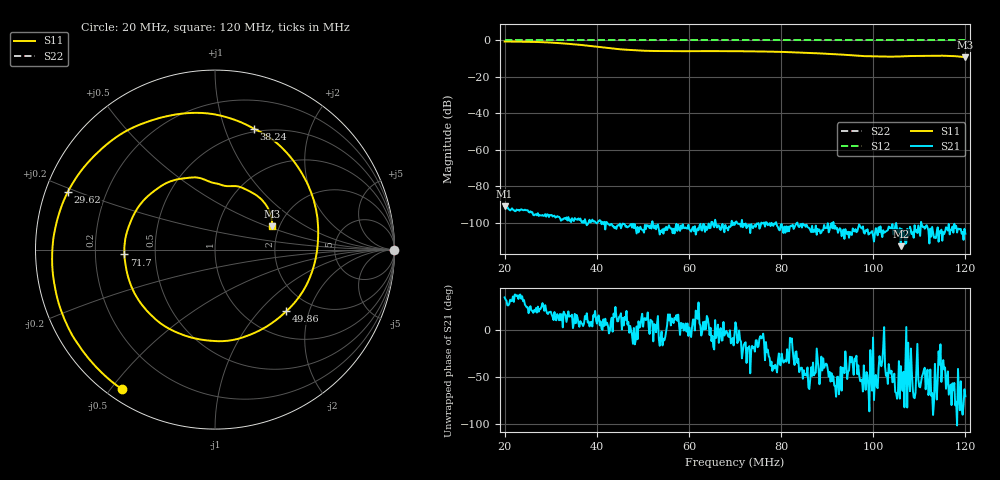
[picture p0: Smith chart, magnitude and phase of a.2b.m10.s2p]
! Anritsu VNA Master:  Model: MS2036C/10/77
! SN:  1601066
! /bd0/18may09/252.ns.m10.s2p
! Existing Calibration Information:
! TYPE:  Current Settings,  Active Cal Settings
! TIME:  05/09/2018 09:13:27 AM,  05/09/2018 09:02:47 AM
! INTERNAL TEMP:  41.8 C,  40.3 C
! # POINTS:  500,  500
! START FREQ:  20.000 MHz,  20.000 MHz
! STOP FREQ:  120.000 MHz,  120.000 MHz
! SOURCE POWER:  High,  High
! IFBW:  50 Hz,  50 Hz
! AVG FACTOR:  1 ,  1
! REF PLANE 1:  0 mm,  0 mm
! REF PLANE 2:  0 mm,  0 mm
! CAL TYPE:  Full S11,  Full S11
! CAL METHOD:  SOLT,  SOLT
! CAL LINE TYPE:  Coax,  Coax
! DUT PORT 1:  K-Conn(F),  K-Conn(F)
! DUT PORT 2:  K-Conn(F),  K-Conn(F)
! CAL STATUS:  OK: Accuracy High,  --
# GHZ S DB R 50.0
! FREQ.GHZ  S11DB  S11A  S21DB  S21A  S12DB  S12A  S22DB  S22A
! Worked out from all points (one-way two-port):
!   500 points, 20 MHz to 120 MHz, reference 50 ohm
!   highest |S21| = -91.01 dB at 20 MHz (marker M1); lowest = -112.9 dB at 106 MHz (marker M2)
!   lowest |S11| = -9.3 dB at 120 MHz (marker M3), VSWR 2.05, Z = 91.6 + j27.1 ohm
!   |S11| at or under -10 dB: nowhere
!   |S22| runs from 0.0 to 0.0 dB; largest |S21 - S12| = 1
!   S11 on the Smith chart (normalised r, x): 20 MHz: 0.04, -0.54; 29.62 MHz: 0.07, +0.19; 38.24 MHz: 0.47, +1.26; 49.86 MHz: 1.50, -1.43; 71.7 MHz: 0.33, -0.02; 120 MHz: 1.83, +0.54
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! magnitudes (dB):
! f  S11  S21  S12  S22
! 20 MHz  -0.6  -91.0  0.0  0.0
! 25.01 MHz  -0.7  -93.2  0.0  0.0
! 29.62 MHz  -1.1  -96.9  0.0  0.0
! 32.83 MHz  -1.6  -97.7  0.0  0.0
! 36.83 MHz  -2.5  -100.1  0.0  0.0
! 38.24 MHz  -3.0  -99.7  0.0  0.0
! 44.65 MHz  -4.8  -101.4  0.0  0.0
! 49.86 MHz  -5.6  -103.9  0.0  0.0
! 53.47 MHz  -5.8  -103.5  0.0  0.0
! 57.68 MHz  -5.9  -101.1  0.0  0.0
! 70.1 MHz  -5.9  -99.7  0.0  0.0
! 71.7 MHz  -5.9  -102.5  0.0  0.0
! 79.72 MHz  -6.3  -104.2  0.0  0.0
! 86.73 MHz  -6.9  -101.7  0.0  0.0
! 92.95 MHz  -7.7  -103.7  0.0  0.0
! 97.56 MHz  -8.6  -103.2  0.0  0.0
! 103.4 MHz  -8.9  -102.1  0.0  0.0
! 106 MHz  -8.8  -112.9  0.0  0.0
! 109 MHz  -8.5  -101.4  0.0  0.0
! 115.2 MHz  -8.4  -105.1  0.0  0.0
! 117.6 MHz  -8.6  -100.6  0.0  0.0
! 120 MHz  -9.3  -106.1  0.0  0.0
